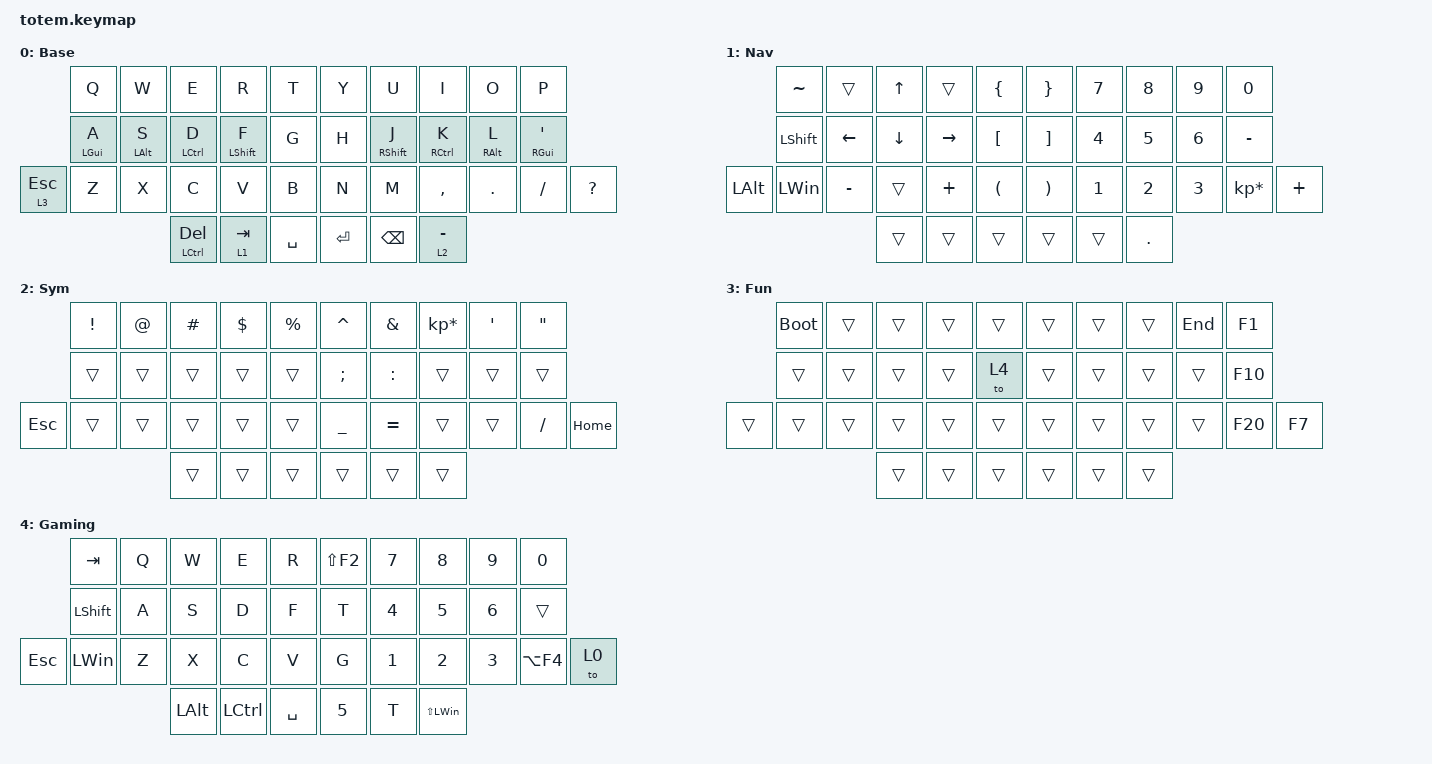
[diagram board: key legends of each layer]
//
//                                                        ▀▀▀▀▀     ▀▀▀▀▀          ▀▀█▀▀
//                                                        ▄▀▀▀▄  ▄  ▄▀▀▀▄  ▄  ▄▀▀▀▄  █  ▄▀▀▀▄
//                                                        █   █  █  █   █  █  █   █  █  █   █
//                                                         ▀▀▀   █   ▀▀▀   █   ▀▀▀   ▀   ▀▀▀
//                                                               █      ▄▄▄█▄▄▄    █   █  
//                                                               ▀      █  █  █     █▄█
//                                                             ▀▀▀▀▀    █  █  █      ▀
//                                                                      ▀  ▀  ▀
//
// ▄▄▄▄▄▄▄▄▄▄▄▄▄▄▄▄▄▄▄▄▄▄▄▄▄▄▄▄▄▄▄▄▄▄▄▄▄▄▄▄▄▄▄▄▄▄▄▄▄▄▄▄▄▄▄▄▄▄▄▄▄▄▄▄▄▄▄▄▄▄▄▄▄▄▄▄▄▄▄▄▄▄▄▄▄▄▄▄▄▄▄▄▄▄▄▄▄▄▄▄▄▄▄▄▄▄▄▄▄▄▄▄▄▄▄▄▄▄▄▄▄▄▄▄▄▄▄▄▄▄▄▄▄▄▄▄▄▄▄▄▄▄▄▄▄▄▄▄▄

#include <behaviors.dtsi>
#include <dt-bindings/zmk/keys.h>

#define Base        0
#define Nav         1
#define Sym         2
#define Fun         3
#define Game        4
#define Gameplus    5

&mt {
    quick-tap-ms = <100>;
    global-quick-tap;
    flavor = "tap-preferred";
    tapping-term-ms = <170>;
};

&lt {
    tapping-term-ms = <240>;
    flavor = "balanced";
    quick-tap-ms = <150>;
};

/ {
    behaviors {
        hm: homerow_mods {
            compatible = "zmk,behavior-hold-tap";
            label = "HOMEROW_MODS";
            #binding-cells = <2>;
            flavor = "tap-preferred";
            tapping-term-ms = <200>;
            quick-tap-ms = <125>;
            global-quick-tap;
            bindings = <&kp>, <&kp>;
        };
    };

    combos { compatible = "zmk,combos"; };

    keymap {
        compatible = "zmk,keymap";

        Base {
            display-name = "Base";
            bindings = <
              &kp Q       &kp W       &kp E          &kp R         &kp T        &kp Y    &kp U          &kp I        &kp O       &kp P
              &hm LGUI A  &hm LALT S  &hm LCTRL D    &hm LSHIFT F  &kp G        &kp H    &hm RSHFT J    &hm RCTRL K  &hm RALT L  &hm RGUI APOS
&lt 3 ESCAPE  &kp Z       &kp X       &kp C          &kp V         &kp B        &kp N    &kp M          &kp COMMA    &kp DOT     &kp SLASH      &kp QUESTION
                                      &mt LCTRL DEL  &lt 1 TAB     &kp SPACE    &kp RET  &kp BACKSPACE  &lt 2 MINUS
            >;
        };

        Nav {
            display-name = "Nav";
            bindings = <
              &kp TILDE       &trans     &kp UP_ARROW  &trans     &kp LBRC    &kp RBRC  &kp NUMBER_7  &kp NUMBER_8  &kp NUMBER_9  &kp NUMBER_0
              &kp LEFT_SHIFT  &kp LEFT   &kp DOWN      &kp RIGHT  &kp LBKT    &kp RBKT  &kp NUMBER_4  &kp NUMBER_5  &kp NUMBER_6  &kp MINUS
&kp LEFT_ALT  &kp LEFT_WIN    &kp MINUS  &trans        &kp PLUS   &kp LPAR    &kp RPAR  &kp NUMBER_1  &kp NUMBER_2  &kp NUMBER_3  &kp KP_MULTIPLY  &kp PLUS
                                         &trans        &trans     &trans      &trans    &trans        &kp DOT
            >;
        };

        Sym {
            display-name = "Sym";
            bindings = <
         &kp EXCL  &kp AT  &kp HASH  &kp DOLLAR  &kp PERCENT    &kp CARET      &kp AMPERSAND  &kp KP_ASTERISK  &kp SQT  &kp DQT
         &trans    &trans  &trans    &trans      &trans         &kp SEMICOLON  &kp COLON      &trans           &trans   &trans
&kp ESC  &trans    &trans  &trans    &trans      &trans         &kp UNDER      &kp EQUAL      &trans           &trans   &kp SLASH  &kp HOME
                           &trans    &trans      &trans         &trans         &trans         &trans
            >;
        };

        Fun {
            display-name = "Fun";
            bindings = <
        &bootloader  &trans  &trans  &trans  &trans    &trans  &trans  &trans  &kp END  &kp F1
        &trans       &trans  &trans  &trans  &to 4     &trans  &trans  &trans  &trans   &kp F10
&trans  &trans       &trans  &trans  &trans  &trans    &trans  &trans  &trans  &trans   &kp F20  &kp F7
                             &trans  &trans  &trans    &trans  &trans  &trans
            >;
        };

        Gaming {
            display-name = "Gaming";
            bindings = <
         &kp TAB         &kp Q  &kp W         &kp E             &kp R        &kp LS(F2)  &kp N7        &kp N8            &kp N9        &kp N0
         &kp LEFT_SHIFT  &kp A  &kp S         &kp D             &kp F        &kp T       &kp NUMBER_4  &kp N5            &kp NUMBER_6  &trans
&kp ESC  &kp LEFT_WIN    &kp Z  &kp X         &kp C             &kp V        &kp G       &kp NUMBER_1  &kp NUMBER_2      &kp NUMBER_3  &kp LA(F4)  &to 0
                                &kp LEFT_ALT  &kp LEFT_CONTROL  &kp SPACE    &kp N5      &kp T         &kp LS(LEFT_WIN)
            >;
        };
    };
};
